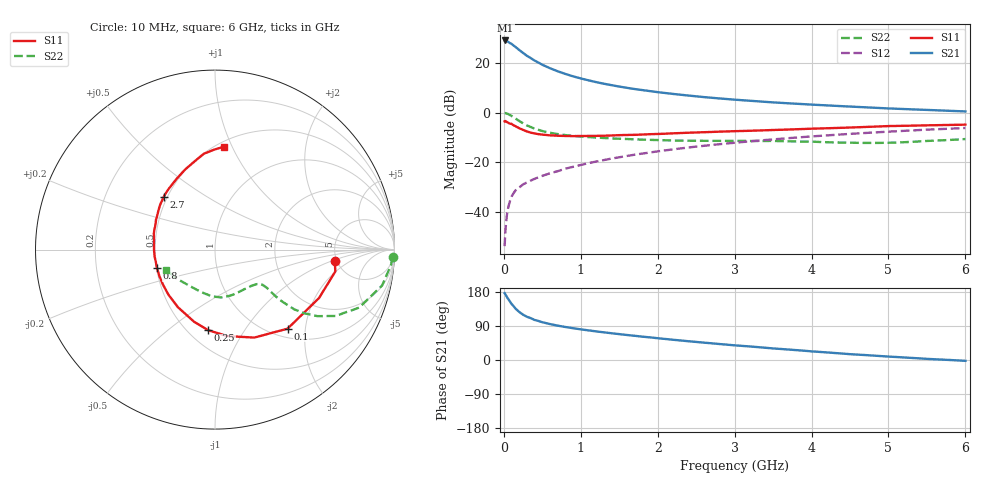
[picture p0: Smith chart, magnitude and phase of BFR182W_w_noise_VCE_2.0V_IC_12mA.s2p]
! Infineon Technologies  Discrete & RF Semiconductors
! BFR182W
! VCE =  2.0 V,  IC =  12 mA
! Common Emitter S-Parameters:  Jan 2017
# GHz  S  MA  R  50
!  f  S11  S21  S12  S22
! GHz  MAG  ANG  MAG  ANG  MAG  ANG  MAG  ANG
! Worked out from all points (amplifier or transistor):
!   77 points, 10 MHz to 6 GHz, reference 50 ohm
!   highest |S21| = 29.3 dB at 20 MHz (marker M1)
!   |S21| within 3 dB of that: start of sweep to 166.2 MHz
!   unconditionally stable (mu >= 1): 919.9 MHz to 2.62 GHz
!   at 130 MHz: K = 0.33, MSG = 29.8 dB, |S12| = -32.4 dB
!   at 2.2 GHz: K = 1.03, MAG = 10.2 dB, |S12| = -14.8 dB
!   at 6 GHz: K = 0.88, MSG = 3.3 dB, |S12| = -6.2 dB
!   lowest NFmin = 1.14 dB at 450 MHz
!   S11 on the Smith chart (normalised r, x): 10 MHz: 4.80, -1.08; 100 MHz: 1.17, -1.61; 250 MHz: 0.62, -0.70; 800 MHz: 0.50, -0.12; 2.7 GHz: 0.48, +0.34; 6 GHz: 0.54, +0.93
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0.01  0.6697 -5.3  28.67 176.4  0.002 84.3  0.9909 -2.4
0.02  0.6814 -10.3  29.03 173.1  0.004 89.8  0.9844 -5.0
0.05  0.6395 -24.9  27.61 162.9  0.0108 77.1  0.9526 -12.1
0.1  0.5981 -47.4  24.79 148.0  0.0201 72.2  0.8657 -21.9
0.15  0.537 -65.9  21.55 136.0  0.0267 65.0  0.7673 -28.8
0.2  0.4868 -81.9  18.62 126.8  0.0307 62.2  0.6809 -33.0
0.25  0.4506 -94.9  16.23 119.5  0.0356 59.7  0.6108 -35.5
0.3  0.4191 -106.0  14.22 114.1  0.039 59.2  0.5535 -37.0
0.4  0.3816 -122.8  11.36 105.7  0.0461 59.6  0.4765 -37.7
0.5  0.3613 -135.8  9.36 99.7  0.0529 61.1  0.4267 -37.6
0.6  0.3491 -146.4  7.965 94.8  0.0596 62.2  0.3936 -37.1
0.7  0.3428 -154.9  6.905 90.7  0.0658 63.5  0.3708 -36.6
0.8  0.3394 -162.1  6.106 87.1  0.074 64.8  0.3537 -36.4
0.9  0.3369 -168.4  5.454 83.9  0.0806 64.8  0.3407 -36.5
1.1  0.3397 -179.2  4.531 78.2  0.0957 66.0  0.3225 -37.0
1.5  0.3524 165.3  3.389 68.3  0.1258 66.0  0.2979 -40.6
2.1  0.3774 147.7  2.507 55.5  0.1737 63.8  0.2775 -51.0
2.7  0.4091 134.2  2.012 44.1  0.2227 60.2  0.2704 -64.8
3.1  0.428 126.1  1.794 37.2  0.2556 57.4  0.2694 -73.8
4.1  0.4809 109.0  1.436 21.4  0.3402 49.0  0.2567 -97.0
5.1  0.5413 95.3  1.207 7.9  0.4228 39.4  0.2501 -130.3
6  0.5751 85.0  1.064 -2.2  0.4922 30.2  0.2938 -157.0
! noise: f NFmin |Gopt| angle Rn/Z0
0.45  1.14  0.05  71  0.15
0.9  1.22  0.06  102  0.15
1.9  1.71  0.21  -156  0.14
2.4  1.97  0.2  -143  0.21
